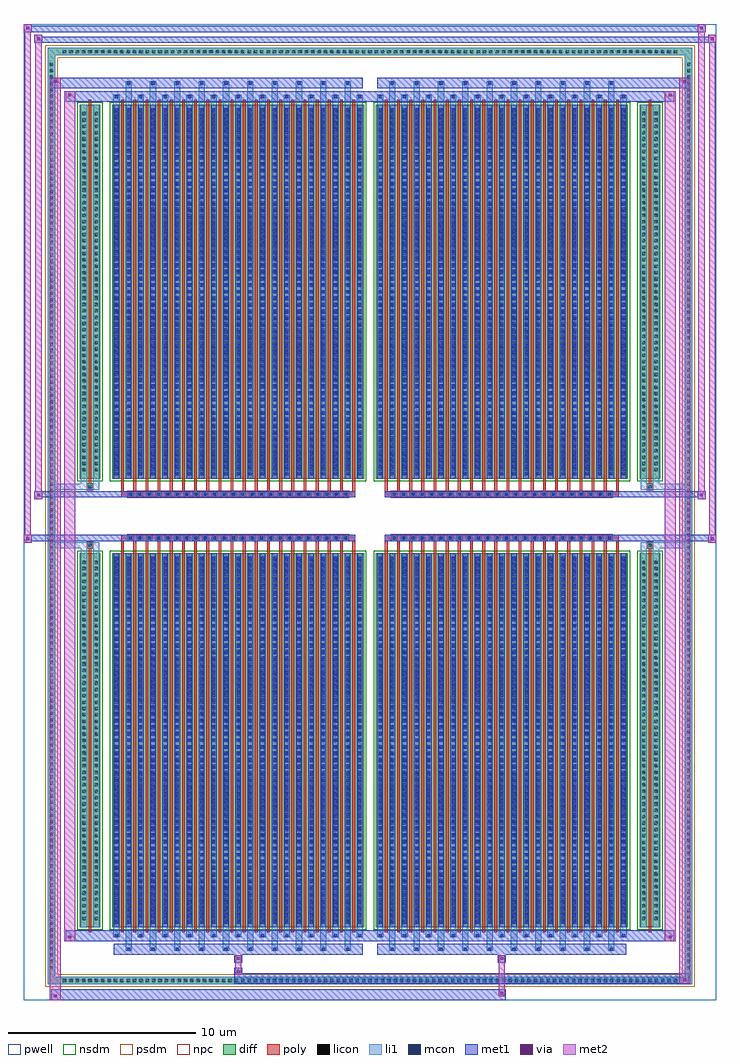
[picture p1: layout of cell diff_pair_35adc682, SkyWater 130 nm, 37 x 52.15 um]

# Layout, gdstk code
import gdstk
lib = gdstk.Library(unit=1e-6, precision=5e-09)
def R(c, l, rs):  # rectangles x0, y0, x1, y1
    for r in rs: c.add(gdstk.rectangle(r[:2], r[2:], *l))
def A(c, l, x, y, w, h, nx, ny, dx, dy):  # array of equal rectangles
    R(c, l, [(x+i*dx, y+j*dy, x+i*dx+w, y+j*dy+h) for i in range(nx) for j in range(ny)])
def P(c, l, *ps):  # polygons
    for p in ps: c.add(gdstk.Polygon(p, *l))
pwell = (64, 44)
diff = (65, 20)
poly = (66, 20)
licon = (66, 44)
li1 = (67, 20)
mcon = (67, 44)
met1 = (68, 20)
via = (68, 44)
met2 = (69, 20)
nsdm = (93, 44)
psdm = (94, 20)
npc = (95, 20)

diff_pair_35adc682 = lib.new_cell('diff_pair_35adc682')
R(diff_pair_35adc682, pwell, [(-18.5,-25.86,18.5,26.29), (-15.82,-23.61,-0.01,-0.805), (0.01,-23.61,15.82,-0.805), (-15.82,0.805,-0.01,23.61), (0.01,0.805,15.82,23.61)])
A(diff_pair_35adc682, diff, -16.525, -25.02, 0.41, 0.41, 97, 2, 0.34, 49.63)
A(diff_pair_35adc682, diff, -17.23, -24.345, 0.41, 0.41, 1, 143, 0, 0.34)
A(diff_pair_35adc682, diff, 16.82, -24.345, 0.41, 0.41, 1, 143, 0, 0.34)
R(diff_pair_35adc682, diff, [(-16.525,-25.02,16.525,-24.61), (-17.23,-24.345,-16.82,24.345), (16.82,-24.345,17.23,24.345), (-15.51,-21.985,-14.41,-1.985), (-13.77,-21.985,-0.32,-1.985), (0.32,-21.985,13.77,-1.985), (14.41,-21.985,15.51,-1.985), (-15.51,1.985,-14.41,21.985), (-13.77,1.985,-0.32,21.985), (0.32,1.985,13.77,21.985), (14.41,1.985,15.51,21.985), (-16.525,24.61,16.525,25.02)])
P(diff_pair_35adc682, diff, [(17.23,25.02),(-17.23,25.02),(-17.23,-24.61),(-16.82,-24.61),(-16.82,24.61),(16.82,24.61),(16.82,-24.61),(-16.82,-24.61),(-17.23,-24.61),(-17.23,-25.02),(17.23,-25.02)])
A(diff_pair_35adc682, poly, -13.295, -22.235, 0.15, 20.5, 20, 2, 0.65, 23.97)
A(diff_pair_35adc682, poly, 0.795, -22.235, 0.15, 20.5, 20, 2, 0.65, 23.97)
A(diff_pair_35adc682, poly, -13.295, -1.735, 0.15, 0.4, 20, 2, 0.65, 3.07)
A(diff_pair_35adc682, poly, 0.795, -1.735, 0.15, 0.4, 20, 2, 0.65, 3.07)
A(diff_pair_35adc682, poly, -12.96, -1.335, 0.33, 0.33, 24, 2, 0.5, 2.34)
A(diff_pair_35adc682, poly, 1.13, -1.335, 0.33, 0.33, 24, 2, 0.5, 2.34)
R(diff_pair_35adc682, poly, [(-15.035,-22.235,-14.885,-1.735), (14.885,-22.235,15.035,-1.735), (-15.125,-1.735,-14.795,-1.405), (-15.125,-1.735,-14.795,-1.405), (14.795,-1.735,15.125,-1.405), (14.795,-1.735,15.125,-1.405), (-13.295,-1.335,-0.795,-1.005), (0.795,-1.335,13.295,-1.005), (-13.295,1.005,-0.795,1.335), (0.795,1.005,13.295,1.335), (-15.125,1.405,-14.795,1.735), (-15.125,1.405,-14.795,1.735), (14.795,1.405,15.125,1.735), (14.795,1.405,15.125,1.735), (-15.035,1.735,-14.885,22.235), (14.885,1.735,15.035,22.235)])
A(diff_pair_35adc682, licon, -16.405, -24.9, 0.17, 0.17, 97, 2, 0.34, 49.63)
A(diff_pair_35adc682, licon, -17.11, -24.225, 0.17, 0.17, 1, 143, 0, 0.34)
A(diff_pair_35adc682, licon, 16.94, -24.225, 0.17, 0.17, 1, 143, 0, 0.34)
A(diff_pair_35adc682, licon, -15.37, -21.59, 0.17, 0.17, 1, 57, 0, 0.34)
A(diff_pair_35adc682, licon, -14.72, -21.59, 0.17, 0.17, 1, 57, 0, 0.34)
A(diff_pair_35adc682, licon, -13.63, -21.59, 0.17, 0.17, 21, 57, 0.65, 0.34)
A(diff_pair_35adc682, licon, 0.46, -21.59, 0.17, 0.17, 21, 57, 0.65, 0.34)
A(diff_pair_35adc682, licon, 14.55, -21.59, 0.17, 0.17, 1, 57, 0, 0.34)
A(diff_pair_35adc682, licon, 15.2, -21.59, 0.17, 0.17, 1, 57, 0, 0.34)
A(diff_pair_35adc682, licon, -12.88, -1.255, 0.17, 0.17, 24, 2, 0.5, 2.34)
A(diff_pair_35adc682, licon, 1.21, -1.255, 0.17, 0.17, 24, 2, 0.5, 2.34)
A(diff_pair_35adc682, licon, -15.37, 2.38, 0.17, 0.17, 1, 57, 0, 0.34)
A(diff_pair_35adc682, licon, -14.72, 2.38, 0.17, 0.17, 1, 57, 0, 0.34)
A(diff_pair_35adc682, licon, -13.63, 2.38, 0.17, 0.17, 21, 57, 0.65, 0.34)
A(diff_pair_35adc682, licon, 0.46, 2.38, 0.17, 0.17, 21, 57, 0.65, 0.34)
A(diff_pair_35adc682, licon, 14.55, 2.38, 0.17, 0.17, 1, 57, 0, 0.34)
A(diff_pair_35adc682, licon, 15.2, 2.38, 0.17, 0.17, 1, 57, 0, 0.34)
R(diff_pair_35adc682, licon, [(-15.045,-1.655,-14.875,-1.485), (14.875,-1.655,15.045,-1.485), (-15.045,1.485,-14.875,1.655), (14.875,1.485,15.045,1.655)])
A(diff_pair_35adc682, li1, -16.485, -24.98, 0.33, 0.33, 97, 2, 0.34, 49.63)
A(diff_pair_35adc682, li1, -17.19, -24.305, 0.33, 0.33, 1, 143, 0, 0.34)
A(diff_pair_35adc682, li1, 16.86, -24.305, 0.33, 0.33, 1, 143, 0, 0.34)
A(diff_pair_35adc682, li1, -13.06, -23.225, 0.33, 1.24, 10, 2, 1.3, 45.21)
A(diff_pair_35adc682, li1, -12.98, -23.225, 0.17, 0.17, 10, 2, 1.3, 46.28)
A(diff_pair_35adc682, li1, 1.03, -23.225, 0.33, 1.24, 10, 2, 1.3, 45.21)
A(diff_pair_35adc682, li1, 1.11, -23.225, 0.17, 0.17, 10, 2, 1.3, 46.28)
A(diff_pair_35adc682, li1, -13.71, -22.505, 0.33, 0.52, 11, 2, 1.3, 44.49)
A(diff_pair_35adc682, li1, -13.63, -22.505, 0.17, 0.17, 11, 2, 1.3, 44.84)
A(diff_pair_35adc682, li1, 0.38, -22.505, 0.33, 0.52, 11, 2, 1.3, 44.49)
A(diff_pair_35adc682, li1, 0.46, -22.505, 0.17, 0.17, 11, 2, 1.3, 44.84)
A(diff_pair_35adc682, li1, -13.71, -21.985, 0.33, 20, 21, 2, 0.65, 23.97)
A(diff_pair_35adc682, li1, 0.38, -21.985, 0.33, 20, 21, 2, 0.65, 23.97)
A(diff_pair_35adc682, li1, -13.63, -21.79, 0.17, 0.17, 21, 55, 0.65, 0.36)
A(diff_pair_35adc682, li1, -13.63, -21.79, 0.17, 19.61, 21, 2, 0.65, 23.97)
A(diff_pair_35adc682, li1, 0.46, -21.79, 0.17, 0.17, 21, 55, 0.65, 0.36)
A(diff_pair_35adc682, li1, 0.46, -21.79, 0.17, 19.61, 21, 2, 0.65, 23.97)
A(diff_pair_35adc682, li1, -15.45, -21.67, 0.33, 0.33, 1, 57, 0, 0.34)
A(diff_pair_35adc682, li1, -14.8, -21.67, 0.33, 0.33, 1, 57, 0, 0.34)
A(diff_pair_35adc682, li1, -13.71, -21.67, 0.33, 0.33, 21, 57, 0.65, 0.34)
A(diff_pair_35adc682, li1, 0.38, -21.67, 0.33, 0.33, 21, 57, 0.65, 0.34)
A(diff_pair_35adc682, li1, 14.47, -21.67, 0.33, 0.33, 1, 57, 0, 0.34)
A(diff_pair_35adc682, li1, 15.12, -21.67, 0.33, 0.33, 1, 57, 0, 0.34)
A(diff_pair_35adc682, li1, -12.96, -1.335, 0.33, 0.33, 24, 2, 0.5, 2.34)
A(diff_pair_35adc682, li1, 1.13, -1.335, 0.33, 0.33, 24, 2, 0.5, 2.34)
A(diff_pair_35adc682, li1, -13.63, 2.18, 0.17, 0.17, 21, 55, 0.65, 0.36)
A(diff_pair_35adc682, li1, 0.46, 2.18, 0.17, 0.17, 21, 55, 0.65, 0.36)
A(diff_pair_35adc682, li1, -15.45, 2.3, 0.33, 0.33, 1, 57, 0, 0.34)
A(diff_pair_35adc682, li1, -14.8, 2.3, 0.33, 0.33, 1, 57, 0, 0.34)
A(diff_pair_35adc682, li1, -13.71, 2.3, 0.33, 0.33, 21, 57, 0.65, 0.34)
A(diff_pair_35adc682, li1, 0.38, 2.3, 0.33, 0.33, 21, 57, 0.65, 0.34)
A(diff_pair_35adc682, li1, 14.47, 2.3, 0.33, 0.33, 1, 57, 0, 0.34)
A(diff_pair_35adc682, li1, 15.12, 2.3, 0.33, 0.33, 1, 57, 0, 0.34)
R(diff_pair_35adc682, li1, [(-17.23,-25.02,-16.82,-24.61), (-17.23,-25.02,-16.82,-24.61), (-16.82,-25.02,16.82,-24.61), (16.82,-25.02,17.23,-24.61), (16.82,-25.02,17.23,-24.61), (-17.23,-24.61,-16.82,24.61), (16.82,-24.61,17.23,24.61), (-15.45,-21.985,-15.12,-1.985), (-14.8,-21.985,-14.47,-1.985), (14.47,-21.985,14.8,-1.985), (15.12,-21.985,15.45,-1.985), (-15.45,-1.985,-15.12,-1.405), (-14.8,-1.985,-14.47,-1.405), (14.47,-1.985,14.8,-1.405), (15.12,-1.985,15.45,-1.405), (-17.23,-1.735,-15.125,-1.405), (-15.45,-1.735,-15.125,-1.405), (-15.125,-1.735,-14.795,-1.405), (-14.795,-1.735,-14.47,-1.405), (14.47,-1.735,14.795,-1.405), (14.795,-1.735,15.125,-1.405), (14.795,-1.735,17.23,-1.405), (15.125,-1.735,15.45,-1.405), (-17.23,1.405,-15.125,1.735), (-15.45,1.405,-15.125,1.735), (-15.45,1.405,-15.12,1.985), (-15.125,1.405,-14.795,1.735), (-14.8,1.405,-14.47,1.985), (-14.795,1.405,-14.47,1.735), (14.47,1.405,14.795,1.735), (14.47,1.405,14.8,1.985), (14.795,1.405,15.125,1.735), (14.795,1.405,17.23,1.735), (15.12,1.405,15.45,1.985), (15.125,1.405,15.45,1.735), (-15.45,1.985,-15.12,21.985), (-14.8,1.985,-14.47,21.985), (14.47,1.985,14.8,21.985), (15.12,1.985,15.45,21.985), (-17.23,24.61,-16.82,25.02), (-17.23,24.61,-16.82,25.02), (-16.82,24.61,16.82,25.02), (16.82,24.61,17.23,25.02), (16.82,24.61,17.23,25.02)])
A(diff_pair_35adc682, mcon, -12.98, -23.225, 0.17, 0.17, 10, 2, 1.3, 46.28)
A(diff_pair_35adc682, mcon, 1.11, -23.225, 0.17, 0.17, 10, 2, 1.3, 46.28)
A(diff_pair_35adc682, mcon, -13.63, -22.505, 0.17, 0.17, 11, 2, 1.3, 44.84)
A(diff_pair_35adc682, mcon, 0.46, -22.505, 0.17, 0.17, 11, 2, 1.3, 44.84)
A(diff_pair_35adc682, mcon, -13.63, -21.79, 0.17, 0.17, 21, 55, 0.65, 0.36)
A(diff_pair_35adc682, mcon, 0.46, -21.79, 0.17, 0.17, 21, 55, 0.65, 0.36)
A(diff_pair_35adc682, mcon, -12.88, -1.255, 0.17, 0.17, 24, 2, 0.5, 2.34)
A(diff_pair_35adc682, mcon, 1.21, -1.255, 0.17, 0.17, 24, 2, 0.5, 2.34)
A(diff_pair_35adc682, mcon, -13.63, 2.18, 0.17, 0.17, 21, 55, 0.65, 0.36)
A(diff_pair_35adc682, mcon, 0.46, 2.18, 0.17, 0.17, 21, 55, 0.65, 0.36)
A(diff_pair_35adc682, met1, -13.04, -23.285, 0.29, 0.29, 10, 2, 1.3, 46.28)
A(diff_pair_35adc682, met1, 1.05, -23.285, 0.29, 0.29, 10, 2, 1.3, 46.28)
A(diff_pair_35adc682, met1, -13.69, -22.565, 0.29, 0.29, 11, 2, 1.3, 44.84)
A(diff_pair_35adc682, met1, 0.4, -22.565, 0.29, 0.29, 11, 2, 1.3, 44.84)
A(diff_pair_35adc682, met1, -13.69, -21.985, 0.29, 20, 21, 2, 0.65, 23.97)
A(diff_pair_35adc682, met1, 0.4, -21.985, 0.29, 20, 21, 2, 0.65, 23.97)
A(diff_pair_35adc682, met1, -13.69, -21.85, 0.29, 0.29, 21, 55, 0.65, 0.36)
A(diff_pair_35adc682, met1, 0.4, -21.85, 0.29, 0.29, 21, 55, 0.65, 0.36)
A(diff_pair_35adc682, met1, -12.94, -1.315, 0.29, 0.29, 24, 2, 0.5, 2.34)
A(diff_pair_35adc682, met1, 1.15, -1.315, 0.29, 0.29, 24, 2, 0.5, 2.34)
A(diff_pair_35adc682, met1, -13.69, 2.12, 0.29, 0.29, 21, 55, 0.65, 0.36)
A(diff_pair_35adc682, met1, 0.4, 2.12, 0.29, 0.29, 21, 55, 0.65, 0.36)
R(diff_pair_35adc682, met1, [(-17.035,-25.86,-16.605,-25.43), (-17.035,-25.86,7.26,-25.28), (6.83,-25.71,7.26,-25.28), (-7.26,-25,17.035,-24.42), (16.605,-25,17.035,-24.57), (-7.26,-24.57,-6.83,-24.14), (-7.26,-23.86,-6.83,-23.43), (6.83,-23.86,7.26,-23.43), (-13.69,-23.43,-0.4,-22.85), (0.4,-23.43,13.69,-22.85), (-16.25,-22.71,-15.82,-22.28), (-16.25,-22.71,-13.69,-22.13), (-13.69,-22.71,-0.4,-22.13), (-0.4,-22.71,0.4,-22.13), (0.4,-22.71,13.69,-22.13), (13.69,-22.71,16.25,-22.13), (15.82,-22.71,16.25,-22.28), (-18.5,-1.435,-18.07,-1.005), (18.07,-1.435,18.5,-1.005), (-18.5,-1.335,-0.795,-1.005), (-13.295,-1.335,-0.795,-1.005), (0.795,-1.335,13.295,-1.005), (0.795,-1.335,18.5,-1.005), (-17.93,0.905,-17.5,1.335), (17.5,0.905,17.93,1.335), (-17.93,1.005,-13.295,1.335), (-13.295,1.005,-0.795,1.335), (0.795,1.005,13.295,1.335), (13.295,1.005,17.93,1.335), (-16.25,22.13,-13.69,22.71), (-13.69,22.13,-0.4,22.71), (-0.4,22.13,0.4,22.71), (0.4,22.13,13.69,22.71), (13.69,22.13,16.25,22.71), (-16.25,22.28,-15.82,22.71), (15.82,22.28,16.25,22.71), (-17.035,22.85,-13.69,23.43), (-13.69,22.85,-0.4,23.43), (0.4,22.85,13.69,23.43), (13.69,22.85,17.035,23.43), (-17.035,23,-16.605,23.43), (16.605,23,17.035,23.43), (-17.93,25.29,-17.5,25.72), (-17.93,25.29,-15.82,25.62), (-15.82,25.29,15.82,25.62), (15.82,25.29,18.5,25.62), (18.07,25.29,18.5,25.72), (-18.5,25.86,-18.07,26.29), (-18.5,25.86,-15.82,26.19), (-15.82,25.86,15.82,26.19), (15.82,25.86,17.93,26.19), (17.5,25.86,17.93,26.29)])
R(diff_pair_35adc682, via, [(-16.895,-25.72,-16.745,-25.57), (6.97,-25.57,7.12,-25.42), (16.745,-24.86,16.895,-24.71), (-7.12,-24.43,-6.97,-24.28), (-7.12,-23.72,-6.97,-23.57), (6.97,-23.72,7.12,-23.57), (-16.11,-22.57,-15.96,-22.42), (15.96,-22.57,16.11,-22.42), (-18.36,-1.295,-18.21,-1.145), (18.21,-1.295,18.36,-1.145), (-17.79,1.045,-17.64,1.195), (17.64,1.045,17.79,1.195), (-16.11,22.42,-15.96,22.57), (15.96,22.42,16.11,22.57), (-16.895,23.14,-16.745,23.29), (16.745,23.14,16.895,23.29), (-17.79,25.43,-17.64,25.58), (18.21,25.43,18.36,25.58), (-18.36,26,-18.21,26.15), (17.64,26,17.79,26.15)])
R(diff_pair_35adc682, met2, [(-17.11,-25.86,-16.53,23.43), (-17.035,-25.86,-16.605,-25.43), (-16.605,-25.86,-16.53,-25.43), (-16.985,-25.81,-16.655,-25.48), (6.88,-25.66,7.21,-25.33), (6.88,-25.33,7.21,-23.81), (16.53,-25,17.11,23.43), (16.605,-25,17.035,-24.57), (17.035,-25,17.11,-24.57), (16.655,-24.95,16.985,-24.62), (-7.21,-24.52,-6.88,-24.19), (-7.21,-24.19,-6.88,-23.81), (-7.21,-23.81,-6.88,-23.48), (6.88,-23.81,7.21,-23.48), (-16.325,-22.71,-15.745,22.71), (-16.25,-22.71,-15.82,-22.28), (-15.82,-22.71,-15.745,-22.28), (15.745,-22.71,16.325,22.71), (15.82,-22.71,16.25,-22.28), (16.25,-22.71,16.325,-22.28), (-16.2,-22.66,-15.87,-22.33), (15.87,-22.66,16.2,-22.33), (-18.5,-1.435,-18.07,-1.005), (-18.45,-1.435,-18.12,26.29), (-18.12,-1.435,-18.07,-1.005), (18.07,-1.435,18.5,-1.005), (18.12,-1.435,18.45,25.72), (18.45,-1.435,18.5,-1.005), (-18.45,-1.385,-18.12,-1.055), (18.12,-1.385,18.45,-1.055), (-17.93,0.905,-17.5,1.335), (-17.88,0.905,-17.55,25.72), (-17.55,0.905,-17.5,1.335), (17.5,0.905,17.93,1.335), (17.55,0.905,17.88,26.29), (17.88,0.905,17.93,1.335), (-17.88,0.955,-17.55,1.285), (17.55,0.955,17.88,1.285), (-16.25,22.28,-15.82,22.71), (-15.82,22.28,-15.745,22.71), (15.82,22.28,16.25,22.71), (16.25,22.28,16.325,22.71), (-16.2,22.33,-15.87,22.66), (15.87,22.33,16.2,22.66), (-17.035,23,-16.605,23.43), (-16.605,23,-16.53,23.43), (16.605,23,17.035,23.43), (17.035,23,17.11,23.43), (-16.985,23.05,-16.655,23.38), (16.655,23.05,16.985,23.38), (-17.93,25.29,-17.5,25.72), (-17.55,25.29,-17.5,25.72), (18.07,25.29,18.5,25.72), (18.45,25.29,18.5,25.72), (-17.88,25.34,-17.55,25.67), (18.12,25.34,18.45,25.67), (-18.5,25.86,-18.07,26.29), (-18.12,25.86,-18.07,26.29), (17.5,25.86,17.93,26.29), (17.88,25.86,17.93,26.29), (-18.45,25.91,-18.12,26.24), (17.55,25.91,17.88,26.24)])
R(diff_pair_35adc682, nsdm, [(-15.64,-22.115,-14.28,-1.855), (-13.9,-22.115,-0.19,-1.855), (0.19,-22.115,13.9,-1.855), (14.28,-22.115,15.64,-1.855), (-15.64,1.855,-14.28,22.115), (-13.9,1.855,-0.19,22.115), (0.19,1.855,13.9,22.115), (14.28,1.855,15.64,22.115)])
P(diff_pair_35adc682, psdm, [(17.36,25.15),(-17.36,25.15),(-17.36,-24.48),(-16.69,-24.48),(-16.69,24.48),(16.69,24.48),(16.69,-24.48),(-16.69,-24.48),(-17.36,-24.48),(-17.36,-25.15),(17.36,-25.15)])
A(diff_pair_35adc682, npc, -12.98, -1.355, 0.37, 0.37, 24, 2, 0.5, 2.34)
A(diff_pair_35adc682, npc, 1.11, -1.355, 0.37, 0.37, 24, 2, 0.5, 2.34)
R(diff_pair_35adc682, npc, [(-15.145,-1.755,-14.775,-1.385), (14.775,-1.755,15.145,-1.385), (-12.98,-1.355,-12.11,-0.985), (-12.98,-1.355,-12.11,-0.985), (-12.48,-1.355,-11.61,-0.985), (-12.48,-1.355,-11.61,-0.985), (-11.98,-1.355,-11.11,-0.985), (-11.98,-1.355,-11.11,-0.985), (-11.48,-1.355,-10.61,-0.985), (-11.48,-1.355,-10.61,-0.985), (-10.98,-1.355,-10.11,-0.985), (-10.98,-1.355,-10.11,-0.985), (-10.48,-1.355,-9.61,-0.985), (-10.48,-1.355,-9.61,-0.985), (-9.98,-1.355,-9.11,-0.985), (-9.98,-1.355,-9.11,-0.985), (-9.48,-1.355,-8.61,-0.985), (-9.48,-1.355,-8.61,-0.985), (-8.98,-1.355,-8.11,-0.985), (-8.98,-1.355,-8.11,-0.985), (-8.48,-1.355,-7.61,-0.985), (-8.48,-1.355,-7.61,-0.985), (-7.98,-1.355,-7.11,-0.985), (-7.98,-1.355,-7.11,-0.985), (-7.48,-1.355,-6.61,-0.985), (-7.48,-1.355,-6.61,-0.985), (-6.98,-1.355,-6.11,-0.985), (-6.98,-1.355,-6.11,-0.985), (-6.48,-1.355,-5.61,-0.985), (-6.48,-1.355,-5.61,-0.985), (-5.98,-1.355,-5.11,-0.985), (-5.98,-1.355,-5.11,-0.985), (-5.48,-1.355,-4.61,-0.985), (-5.48,-1.355,-4.61,-0.985), (-4.98,-1.355,-4.11,-0.985), (-4.98,-1.355,-4.11,-0.985), (-4.48,-1.355,-3.61,-0.985), (-4.48,-1.355,-3.61,-0.985), (-3.98,-1.355,-3.11,-0.985), (-3.98,-1.355,-3.11,-0.985), (-3.48,-1.355,-2.61,-0.985), (-3.48,-1.355,-2.61,-0.985), (-2.98,-1.355,-2.11,-0.985), (-2.98,-1.355,-2.11,-0.985), (-2.48,-1.355,-1.61,-0.985), (-2.48,-1.355,-1.61,-0.985), (-1.98,-1.355,-1.11,-0.985), (-1.98,-1.355,-1.11,-0.985), (1.11,-1.355,1.98,-0.985), (1.11,-1.355,1.98,-0.985), (1.61,-1.355,2.48,-0.985), (1.61,-1.355,2.48,-0.985), (2.11,-1.355,2.98,-0.985), (2.11,-1.355,2.98,-0.985), (2.61,-1.355,3.48,-0.985), (2.61,-1.355,3.48,-0.985), (3.11,-1.355,3.98,-0.985), (3.11,-1.355,3.98,-0.985), (3.61,-1.355,4.48,-0.985), (3.61,-1.355,4.48,-0.985), (4.11,-1.355,4.98,-0.985), (4.11,-1.355,4.98,-0.985), (4.61,-1.355,5.48,-0.985), (4.61,-1.355,5.48,-0.985), (5.11,-1.355,5.98,-0.985), (5.11,-1.355,5.98,-0.985), (5.61,-1.355,6.48,-0.985), (5.61,-1.355,6.48,-0.985), (6.11,-1.355,6.98,-0.985), (6.11,-1.355,6.98,-0.985), (6.61,-1.355,7.48,-0.985), (6.61,-1.355,7.48,-0.985), (7.11,-1.355,7.98,-0.985), (7.11,-1.355,7.98,-0.985), (7.61,-1.355,8.48,-0.985), (7.61,-1.355,8.48,-0.985), (8.11,-1.355,8.98,-0.985), (8.11,-1.355,8.98,-0.985), (8.61,-1.355,9.48,-0.985), (8.61,-1.355,9.48,-0.985), (9.11,-1.355,9.98,-0.985), (9.11,-1.355,9.98,-0.985), (9.61,-1.355,10.48,-0.985), (9.61,-1.355,10.48,-0.985), (10.11,-1.355,10.98,-0.985), (10.11,-1.355,10.98,-0.985), (10.61,-1.355,11.48,-0.985), (10.61,-1.355,11.48,-0.985), (11.11,-1.355,11.98,-0.985), (11.11,-1.355,11.98,-0.985), (11.61,-1.355,12.48,-0.985), (11.61,-1.355,12.48,-0.985), (12.11,-1.355,12.98,-0.985), (12.11,-1.355,12.98,-0.985), (-12.98,0.985,-12.11,1.355), (-12.98,0.985,-12.11,1.355), (-12.48,0.985,-11.61,1.355), (-12.48,0.985,-11.61,1.355), (-11.98,0.985,-11.11,1.355), (-11.98,0.985,-11.11,1.355), (-11.48,0.985,-10.61,1.355), (-11.48,0.985,-10.61,1.355), (-10.98,0.985,-10.11,1.355), (-10.98,0.985,-10.11,1.355), (-10.48,0.985,-9.61,1.355), (-10.48,0.985,-9.61,1.355), (-9.98,0.985,-9.11,1.355), (-9.98,0.985,-9.11,1.355), (-9.48,0.985,-8.61,1.355), (-9.48,0.985,-8.61,1.355), (-8.98,0.985,-8.11,1.355), (-8.98,0.985,-8.11,1.355), (-8.48,0.985,-7.61,1.355), (-8.48,0.985,-7.61,1.355), (-7.98,0.985,-7.11,1.355), (-7.98,0.985,-7.11,1.355), (-7.48,0.985,-6.61,1.355), (-7.48,0.985,-6.61,1.355), (-6.98,0.985,-6.11,1.355), (-6.98,0.985,-6.11,1.355), (-6.48,0.985,-5.61,1.355), (-6.48,0.985,-5.61,1.355), (-5.98,0.985,-5.11,1.355), (-5.98,0.985,-5.11,1.355), (-5.48,0.985,-4.61,1.355), (-5.48,0.985,-4.61,1.355), (-4.98,0.985,-4.11,1.355), (-4.98,0.985,-4.11,1.355), (-4.48,0.985,-3.61,1.355), (-4.48,0.985,-3.61,1.355), (-3.98,0.985,-3.11,1.355), (-3.98,0.985,-3.11,1.355), (-3.48,0.985,-2.61,1.355), (-3.48,0.985,-2.61,1.355), (-2.98,0.985,-2.11,1.355), (-2.98,0.985,-2.11,1.355), (-2.48,0.985,-1.61,1.355), (-2.48,0.985,-1.61,1.355), (-1.98,0.985,-1.11,1.355), (-1.98,0.985,-1.11,1.355), (1.11,0.985,1.98,1.355), (1.11,0.985,1.98,1.355), (1.61,0.985,2.48,1.355), (1.61,0.985,2.48,1.355), (2.11,0.985,2.98,1.355), (2.11,0.985,2.98,1.355), (2.61,0.985,3.48,1.355), (2.61,0.985,3.48,1.355), (3.11,0.985,3.98,1.355), (3.11,0.985,3.98,1.355), (3.61,0.985,4.48,1.355), (3.61,0.985,4.48,1.355), (4.11,0.985,4.98,1.355), (4.11,0.985,4.98,1.355), (4.61,0.985,5.48,1.355), (4.61,0.985,5.48,1.355), (5.11,0.985,5.98,1.355), (5.11,0.985,5.98,1.355), (5.61,0.985,6.48,1.355), (5.61,0.985,6.48,1.355), (6.11,0.985,6.98,1.355), (6.11,0.985,6.98,1.355), (6.61,0.985,7.48,1.355), (6.61,0.985,7.48,1.355), (7.11,0.985,7.98,1.355), (7.11,0.985,7.98,1.355), (7.61,0.985,8.48,1.355), (7.61,0.985,8.48,1.355), (8.11,0.985,8.98,1.355), (8.11,0.985,8.98,1.355), (8.61,0.985,9.48,1.355), (8.61,0.985,9.48,1.355), (9.11,0.985,9.98,1.355), (9.11,0.985,9.98,1.355), (9.61,0.985,10.48,1.355), (9.61,0.985,10.48,1.355), (10.11,0.985,10.98,1.355), (10.11,0.985,10.98,1.355), (10.61,0.985,11.48,1.355), (10.61,0.985,11.48,1.355), (11.11,0.985,11.98,1.355), (11.11,0.985,11.98,1.355), (11.61,0.985,12.48,1.355), (11.61,0.985,12.48,1.355), (12.11,0.985,12.98,1.355), (12.11,0.985,12.98,1.355), (-15.145,1.385,-14.775,1.755), (14.775,1.385,15.145,1.755)])

lib.write_gds('diff_pair_35adc682.gds')
